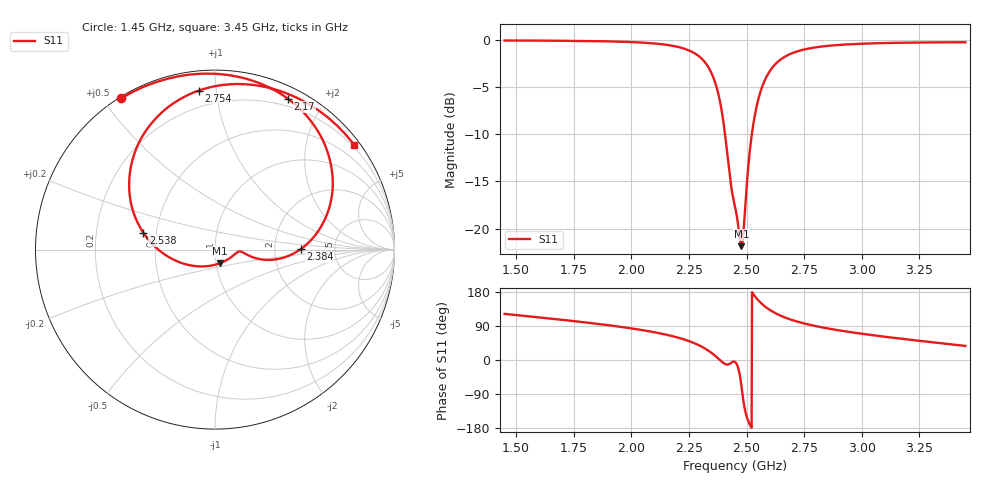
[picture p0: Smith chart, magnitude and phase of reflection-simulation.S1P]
! TOUCHSTONE file generated by CST MICROWAVE STUDIO
! Date and time: Thu Jan 18 01:46:51 2024
! Project name: CPpatch.cst
! Parameters = {AirCoaxRadius=1.5; ChamferAngle=32; ChamferWidth=4.6; FeedYoffset=8; PatchLength=28.6; PatchWidth=28.6}
! Header version: 2018
! Port assignment regex: !\s*Touchstone port\s*([0-9]+)\s*=\s*(CST MWS port|CST DS port)\s*([0-9]+|Zmin|Zmax)\s*\(\"(.*)\"\)(\s*mode\s*([0-9]+))?.*
! Touchstone port assignment:
! Touchstone port 1 = CST MWS port 1 ("")
# GHz S DB R 50
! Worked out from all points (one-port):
!   1001 points, 1.45 GHz to 3.45 GHz, reference 50 ohm
!   lowest |S11| = -21.9 dB at 2.478 GHz (marker M1), VSWR 1.18, Z = 52.4 - j7.94 ohm
!   |S11| at or under -10 dB: 2.407 GHz to 2.523 GHz (116.5 MHz wide, 4.73 % of centre)
!   S11 on the Smith chart (normalised r, x): 1.45 GHz: 0.01, +0.56; 2.17 GHz: 0.12, +1.59; 2.384 GHz: 2.82, +0.01; 2.538 GHz: 0.42, +0.09; 2.754 GHz: 0.10, +0.90; 3.45 GHz: 0.15, +2.97
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1.45  -0.07 121.8
1.7  -0.10 106.0
1.95  -0.20 87.8
2.078  -0.35 75.7
2.17  -0.60 64.2
2.2  -0.74 59.5
2.266  -1.31 46.2
2.322  -2.45 29.5
2.354  -3.87 16.0
2.384  -6.43 0.2
2.402  -9.13 -8.8
2.422  -13.29 -11.5
2.45  -17.67 -5.2
2.47  -20.88 -36.8
2.478  -21.86 -68.9
2.488  -19.93 -114.1
2.506  -13.86 -158.7
2.52  -10.58 -176.8
2.538  -7.76 166.8
2.572  -4.71 145.2
2.618  -2.77 126.0
2.656  -1.95 114.9
2.7  -1.40 105.1
2.754  -1.01 95.8
2.842  -0.67 84.5
2.95  -0.47 73.7
3.2  -0.30 54.1
3.45  -0.27 37.1
